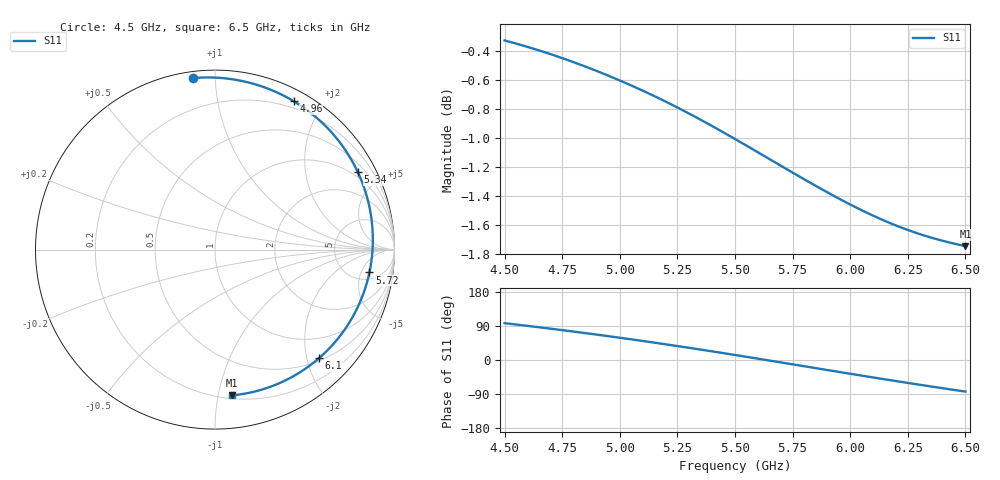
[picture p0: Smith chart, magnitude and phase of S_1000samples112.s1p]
! TOUCHSTONE file generated by CST MICROWAVE STUDIO
! Date and time: Thu Oct 27 01:06:09 2022
! Project name: L.cst
! Parameters = {Di=1.27; Epsilon_r=1.56; InnerDiameter=1.27; Length=2; Lf=10; Lg=60; OuterConductorThickness=0.2921; OuterDiameter=3.6; Wf=3; Wp=41.2; de=1.5; df=6.8; g=0.8; gx=3.79532; gy=4.51409; h=2.34; hf=1.524; px=10.5488; py=11.4267; w=9.7; wx=6.7535; wy=6.9126}
! Header version: 2018
! Port assignment regex: !\s*Touchstone port\s*([0-9]+)\s*=\s*(CST MWS port|CST DS port)\s*([0-9]+|Zmin|Zmax)\s*\(\"(.*)\"\)(\s*mode\s*([0-9]+))?.*
! Touchstone port assignment:
! Touchstone port 1 = CST MWS port 1 ("")
# GHz S DB R 50
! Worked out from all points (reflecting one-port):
!   101 points, 4.5 GHz to 6.5 GHz, reference 50 ohm
!   lowest |S11| = -1.7 dB at 6.5 GHz (marker M1), VSWR 9.97, Z = 11.2 - j54.9 ohm
!   phase of S11 starts at 97 deg and turns -181 deg over the sweep
!   S11 on the Smith chart (normalised r, x): 4.5 GHz: 0.03, +0.88; 4.96 GHz: 0.12, +1.66; 5.34 GHz: 0.79, +3.79; 5.72 GHz: 6.81, -7.13; 6.1 GHz: 0.55, -2.24; 6.5 GHz: 0.22, -1.10
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4.5  -0.33 97.2
4.58  -0.36 91.5
4.64  -0.39 87.1
4.76  -0.45 78.0
4.86  -0.51 70.2
4.96  -0.58 62.0
5  -0.60 58.7
5.12  -0.69 48.4
5.18  -0.73 43.1
5.26  -0.80 35.9
5.34  -0.86 28.5
5.42  -0.93 20.9
5.5  -1.01 13.2
5.56  -1.06 7.4
5.62  -1.12 1.5
5.72  -1.21 -8.4
5.76  -1.25 -12.4
5.82  -1.30 -18.4
5.88  -1.36 -24.4
5.94  -1.41 -30.4
6  -1.46 -36.3
6.1  -1.54 -46.1
6.18  -1.59 -53.8
6.26  -1.64 -61.4
6.32  -1.67 -67.0
6.38  -1.70 -72.5
6.44  -1.73 -78.0
6.5  -1.75 -83.3
